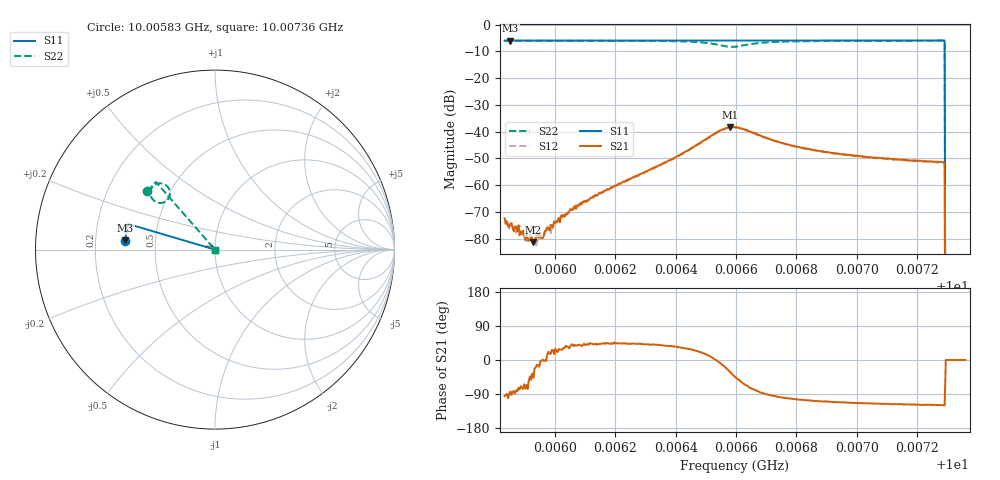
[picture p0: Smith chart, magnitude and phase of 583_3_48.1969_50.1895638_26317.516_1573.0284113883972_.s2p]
#  HZ  S  RI  R  50.00
! Rohde & Schwarz Vector Network Analyzer
! Rohde-Schwarz,ZNB20-2Port,1311601062101988,3.16
! Created: UTC 3/20/2024, 12:02:11 PM
! freq[Hz]  re:S11  im:S11  re:S21  im:S21  re:S12  im:S12  re:S22  im:S22
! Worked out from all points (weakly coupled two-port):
!   401 points, 10.00583 GHz to 10.00736 GHz, reference 50 ohm
!   highest |S21| = -38.25 dB at 10.00658 GHz (marker M1); lowest = -81.4 dB at 10.00593 GHz (marker M2)
!   lowest |S11| = -6.0 dB at 10.00585 GHz (marker M3), VSWR 3.02, Z = 16.6 + j2.29 ohm
!   |S11| at or under -10 dB: 10.00729 GHz to end of sweep
!   |S22| runs from - to -6.0 dB; largest |S21 - S12| = 0.001
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1.0005833e10  -0.4996 0.0504  -2.43e-05 -0.000238  -1.06e-05 -0.000206  -0.3761 0.326
1.0005852e10  -0.4993 0.0515  2.23e-05 -0.000186  -3.93e-07 -0.000147  -0.3752 0.327
1.0005875e10  -0.4994 0.053  1.89e-05 -0.000137  7.28e-05 -0.000152  -0.374 0.3285
1.0005902e10  -0.4992 0.0548  2.29e-05 -9.08e-05  1.5e-05 -9.98e-05  -0.3728 0.3303
1.000591e10  -0.4992 0.0554  2.37e-05 -9.96e-05  6.24e-05 -6.35e-05  -0.3723 0.3308
1.0005913e10  -0.4992 0.0556  5.24e-05 -7.45e-05  5.54e-05 -8.87e-05  -0.372 0.3308
1.0005929e10  -0.4991 0.0566  5.83e-05 -6.18e-05  8.25e-05 -4.64e-05  -0.3712 0.3318
1.0005933e10  -0.4992 0.0567  8.34e-05 -3.37e-05  8.56e-05 -5.82e-05  -0.3709 0.3321
1.0005959e10  -0.4989 0.0584  0.000102 1.41e-06  0.000106 4.44e-05  -0.3695 0.3339
1.0005986e10  -0.4988 0.0603  0.000173 4.99e-05  0.000116 3.73e-05  -0.368 0.3357
1.0006005e10  -0.4987 0.0615  0.000187 7.73e-05  0.000185 0.000115  -0.3667 0.337
1.0006089e10  -0.4981 0.0671  0.000354 0.000262  0.000345 0.000342  -0.3613 0.3427
1.0006345e10  -0.4961 0.0836  0.00179 0.00148  0.0017 0.00153  -0.3341 0.3629
1.0006498e10  -0.4941 0.0937  0.00679 0.00193  0.00652 0.00221  -0.2797 0.363
1.0006582e10  -0.4927 0.0981  0.0103 -0.00655  0.0103 -0.00574  -0.2621 0.2803
1.0006597e10  -0.4925 0.099  0.00862 -0.0084  0.00899 -0.00783  -0.2795 0.2659
1.0006681e10  -0.4923 0.1041  0.000578 -0.00839  0.00116 -0.00818  -0.3523 0.2876
1.0006853e10  -0.4907 0.1154  -0.00139 -0.00437  -0.00116 -0.00435  -0.3552 0.3383
1.0007109e10  -0.4871 0.1316  -0.00135 -0.00282  -0.00119 -0.00279  -0.3396 0.3647
1.0007284e10  -0.4845 0.1427  -0.00132 -0.00235  -0.00116 -0.00236  -0.3297 0.3762
1.0007303e10  0 0  0 0  0 0  0 0
1.0007361e10  0 0  0 0  0 0  0 0
